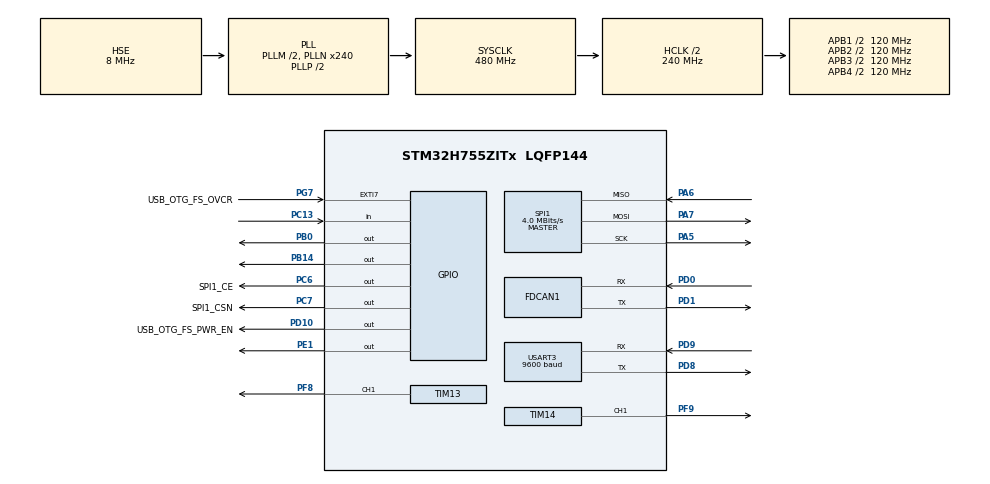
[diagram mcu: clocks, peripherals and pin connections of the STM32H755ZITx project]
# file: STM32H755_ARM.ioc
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CortexM4.IPs=FATFS_M4\:I,FREERTOS_M4\:I,IWDG2\:I,RCC,WWDG2\:I,DMA,BDMA,MDMA,NVIC2\:I,USART3,DEBUG,PDM2PCM_M4\:I,PWR,RESMGR_UTILITY,SYS_M4\:I,USB_DEVICE_M4\:I,USB_HOST_M4\:I,CORTEX_M4\:I,GPIO,OPENAMP_M4\:I,VREFBUF,NUCLEO-H755ZI-Q,FDCAN1,SPI1
CortexM7.IPs=FATFS_M7\:I,FREERTOS_M7\:I,IWDG1\:I,RCC\:I,WWDG1\:I,DMA\:I,BDMA\:I,MDMA\:I,NVIC1\:I,USART3\:I,USB_OTG_FS\:I,SYS\:I,CORTEX_M7\:I,DEBUG\:I,PDM2PCM_M7\:I,PWR\:I,RESMGR_UTILITY\:I,USB_DEVICE_M7\:I,USB_HOST_M7\:I,GPIO\:I,OPENAMP_M7\:I,VREFBUF\:I,NUCLEO-H755ZI-Q\:I,SPI1\:I,TIM13\:I,TIM14\:I,FDCAN1\:I
CortexM7.Pins=PC6,PC7
FDCAN1.CalculateBaudRateNominal=500000
FDCAN1.CalculateTimeBitNominal=2000
FDCAN1.CalculateTimeQuantumNominal=50.0
FDCAN1.NominalPrescaler=2
FDCAN1.NominalSyncJumpWidth=8
FDCAN1.NominalTimeSeg1=0x1F
FDCAN1.NominalTimeSeg2=8
FDCAN1.RxFifo0ElmtsNbr=1
FDCAN1.StdFiltersNbr=1
FDCAN1.TxFifoQueueElmtsNbr=1
Mcu.Family=STM32H7
Mcu.Name=STM32H755ZITx
Mcu.Package=LQFP144
NVIC1.PriorityGroup=NVIC_PRIORITYGROUP_4
NVIC2.PriorityGroup=NVIC_PRIORITYGROUP_4
PA1.PinAttribute=CortexM7
PA1.Signal=ETH_REF_CLK
PA11.PinAttribute=CortexM7
PA11.Signal=USB_OTG_FS_DM
PA12.PinAttribute=CortexM7
PA12.Signal=USB_OTG_FS_DP
PA2.PinAttribute=CortexM7
PA2.Signal=ETH_MDIO
PA5.Mode=Full_Duplex_Master
PA5.PinAttribute=CortexM7
PA5.Signal=SPI1_SCK
PA6.Mode=Full_Duplex_Master
PA6.PinAttribute=CortexM7
PA6.Signal=SPI1_MISO
PA7.Mode=Full_Duplex_Master
PA7.PinAttribute=CortexM7
PA7.Signal=SPI1_MOSI
PA8.PinAttribute=CortexM7
PA8.Signal=USB_OTG_FS_SOF
PA9.PinAttribute=CortexM7
PA9.Signal=USB_OTG_FS_VBUS
PB0.PinAttribute=Free
PB0.Signal=GPIO_Output
PB13.PinAttribute=CortexM7
PB13.Signal=ETH_TXD1
PB14.PinAttribute=Free
PB14.Signal=GPIO_Output
PC1.PinAttribute=CortexM7
PC1.Signal=ETH_MDC
PC13.PinAttribute=Free
PC13.Signal=GPIO_Input
PC14-OSC32_IN\ (OSC32_IN).Mode=LSE-External-Oscillator
PC14-OSC32_IN\ (OSC32_IN).PinAttribute=Free
PC14-OSC32_IN\ (OSC32_IN).Signal=RCC_OSC32_IN
PC15-OSC32_OUT\ (OSC32_OUT).Mode=LSE-External-Oscillator
PC15-OSC32_OUT\ (OSC32_OUT).PinAttribute=Free
PC15-OSC32_OUT\ (OSC32_OUT).Signal=RCC_OSC32_OUT
PC4.PinAttribute=CortexM7
PC4.Signal=ETH_RXD0
PC5.PinAttribute=CortexM7
PC5.Signal=ETH_RXD1
PC6.GPIO_Label=SPI1_CE
PC6.PinAttribute=CortexM7
PC6.Signal=GPIO_Output
PC7.GPIO_Label=SPI1_CSN
PC7.PinAttribute=CortexM7
PC7.Signal=GPIO_Output
PD0.GPIO_Speed=GPIO_SPEED_FREQ_VERY_HIGH
PD0.Mode=FDCAN_Activate
PD0.PinAttribute=CortexM7
PD0.Signal=FDCAN1_RX
PD1.GPIO_PuPd=GPIO_PULLUP
PD1.GPIO_Speed=GPIO_SPEED_FREQ_VERY_HIGH
PD1.Mode=FDCAN_Activate
PD1.PinAttribute=CortexM7
PD1.Signal=FDCAN1_TX
PD10.GPIO_Label=USB_OTG_FS_PWR_EN
PD10.PinAttribute=Free
PD10.Signal=GPIO_Output
PD8.Mode=Asynchronous
PD8.PinAttribute=CortexM7
PD8.Signal=USART3_TX
PD9.Mode=Asynchronous
PD9.PinAttribute=CortexM7
PD9.Signal=USART3_RX
PE1.PinAttribute=Free
PE1.Signal=GPIO_Output
PF8.PinAttribute=CortexM7
PF8.Signal=S_TIM13_CH1
PF9.PinAttribute=CortexM7
PF9.Signal=S_TIM14_CH1
PG11.PinAttribute=CortexM7
PG11.Signal=ETH_TX_EN
PG13.PinAttribute=CortexM7
PG13.Signal=ETH_TXD0
PG7.GPIO_Label=USB_OTG_FS_OVCR
PG7.PinAttribute=Free
PG7.Signal=GPXTI7
PH0-OSC_IN\ (PH0).Mode=HSE-External-Clock-Source
PH0-OSC_IN\ (PH0).PinAttribute=Free
PH0-OSC_IN\ (PH0).Signal=RCC_OSC_IN
PH1-OSC_OUT\ (PH1).PinAttribute=Free
PH1-OSC_OUT\ (PH1).Signal=RCC_OSC_OUT
ProjectManager.HeapSize=M4-0x200,M7-0x200
ProjectManager.StackSize=M4-0x400,M7-0x400
ProjectManager.TargetToolchain=STM32CubeIDE
RCC.ADCFreq_Value=16125000
RCC.APB1Freq_Value=120000000
RCC.APB2Freq_Value=120000000
RCC.APB3Freq_Value=120000000
RCC.APB4Freq_Value=120000000
RCC.CortexFreq_Value=480000000
RCC.D1PPRE=RCC_APB3_DIV2
RCC.D2PPRE1=RCC_APB1_DIV2
RCC.D2PPRE2=RCC_APB2_DIV2
RCC.D3PPRE=RCC_APB4_DIV2
RCC.DIVM1=2
RCC.DIVN1=240
RCC.DIVQ1=24
RCC.HCLKFreq_Value=240000000
RCC.HPRE=RCC_HCLK_DIV2
RCC.HSE_VALUE=8000000
RCC.PLL2FRACN=0
RCC.PLL3FRACN=0
RCC.PLLFRACN=0
RCC.PLLSourceVirtual=RCC_PLLSOURCE_HSE
RCC.SPI123CLockSelection=RCC_SPI123CLKSOURCE_CLKP
RCC.SYSCLKFreq_VALUE=480000000
RCC.SYSCLKSource=RCC_SYSCLKSOURCE_PLLCLK
RCC.SupplySource=PWR_DIRECT_SMPS_SUPPLY
RCC.USBFreq_Value=40000000
SH.S_TIM13_CH1.0=TIM13_CH1,PWM Generation1 CH1
SH.S_TIM14_CH1.0=TIM14_CH1,PWM Generation1 CH1
SPI1.BaudRatePrescaler=SPI_BAUDRATEPRESCALER_16
SPI1.CalculateBaudRate=4.0 MBits/s
SPI1.DataSize=SPI_DATASIZE_8BIT
SPI1.Direction=SPI_DIRECTION_2LINES
SPI1.Mode=SPI_MODE_MASTER
SPI1.VirtualType=VM_MASTER
TIM13.Channel=TIM_CHANNEL_1
TIM13.Period=19999
TIM13.Prescaler=239
TIM13.Pulse=1500
TIM14.Channel=TIM_CHANNEL_1
TIM14.Period=19999
TIM14.Prescaler=239
TIM14.Pulse=1500
USART3.BaudRate=9600
USART3.VirtualMode-Asynchronous=VM_ASYNC
VP_SYS_M4_VS_Systick.Mode=SysTick
VP_TIM13_VS_ClockSourceINT.Mode=Enable_Timer
VP_TIM14_VS_ClockSourceINT.Mode=Enable_Timer
board=NUCLEO-H755ZI-Q

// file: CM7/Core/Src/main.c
/* USER CODE BEGIN Header */
/**
  ******************************************************************************
  * @file           : main.c
  * @brief          : Main program body
  ******************************************************************************
  * @attention
  *
  * Copyright (c) 2024 STMicroelectronics.
  * All rights reserved.
  *
  * This software is licensed under terms that can be found in the LICENSE file
  * in the root directory of this software component.
  * If no LICENSE file comes with this software, it is provided AS-IS.
  *
  ******************************************************************************
  */
/* USER CODE END Header */
#include "main.h"

/* USER CODE BEGIN Includes */
#include "myprintf.h"
#include "MY_NRF24.h"
#include "string.h"

/* USER CODE END Includes */

/* USER CODE BEGIN PD */

#ifndef HSEM_ID_0
#define HSEM_ID_0 (0U) /* HW semaphore 0*/
#endif

/* USER CODE END PD */

FDCAN_HandleTypeDef hfdcan1;

SPI_HandleTypeDef hspi1;

TIM_HandleTypeDef htim13;
TIM_HandleTypeDef htim14;

UART_HandleTypeDef huart3;

/* USER CODE BEGIN PV */
const uint64_t pipe_address = 0x11223344AALL;
char myRxData[50];
uint8_t buffer[6];
char myAckPayload[32] = "Ack by STMF7!";

/* USER CODE END PV */

void SystemClock_Config(void);
void PeriphCommonClock_Config(void);
static void MX_GPIO_Init(void);
static void MX_SPI1_Init(void);
static void MX_USART3_UART_Init(void);
static void MX_TIM13_Init(void);
static void MX_TIM14_Init(void);
static void MX_FDCAN1_Init(void);
/* USER CODE BEGIN PFP */
void NRF_Init(void);
void checkNRF();
/* USER CODE END PFP */

/* USER CODE BEGIN 0 */
void NRF_Init(void) {
	NRF24_begin(GPIOC, GPIO_PIN_6, GPIO_PIN_7, hspi1); // Ajusta según tu configuración de pines
	nrf24_DebugUART_Init(huart3);
	NRF24_openReadingPipe(1, pipe_address); // Abre el pipe 1 con la dirección configurada
	NRF24_setAutoAck(false);
	NRF24_setChannel(52); // Canal de RF, asegúrate que coincida con el Arduino
	NRF24_setPayloadSize(32);
	NRF24_setDataRate(RF24_2MBPS); // Velocidad de datos, debe coincidir con el Arduino
	NRF24_enableDynamicPayloads();
	NRF24_enableAckPayload();
	NRF24_startListening(); // Comienza a escuchar
	printRadioSettings();
}

void checkNRF(void) {
	uint8_t x = 0;
	uint8_t y = 0;
	uint8_t a = 0;
	uint8_t buffer[6];
	if(NRF24_available())
	  {
		NRF24_read(buffer, 6);

		if((buffer[0] == 0xFF && buffer[1] == 0xFF)){
			printf("Coordinates not found\r\n");
		}
		else{
			x = (buffer[0]<<8|buffer[1]);
			y = (buffer[2]<<8|buffer[3]);
			a = (buffer[4]<<8|buffer[5]);
		//				snprintf(myRxData, 32, "%u %u %u \r\n", (buffer[0]<<8|buffer[1]), (buffer[2]<<8|buffer[3]), (buffer[4]<<8|buffer[5]));

			snprintf(myRxData, 32, "x = %u, y = %u, a = %u \r\n", x, y, a);
			HAL_UART_Transmit(&huart3, (uint8_t *)myRxData, strlen(myRxData), 10);
			//printf("x = %u, y = %u, a = %u \r\n", x,y,a);
			//printf("test \r\n");

		}
		NRF24_writeAckPayload(1, myAckPayload, 32);
	  } else {
		printf("NRF NOT AVAILABLE \r\n");
	  }
}
/* USER CODE END 0 */

int main(void)
{

/* USER CODE BEGIN Boot_Mode_Sequence_0 */
  int32_t timeout;
/* USER CODE END Boot_Mode_Sequence_0 */

/* USER CODE BEGIN Boot_Mode_Sequence_1 */
  /* Wait until CPU2 boots and enters in stop mode or timeout*/
  timeout = 0xFFFF;
  while((__HAL_RCC_GET_FLAG(RCC_FLAG_D2CKRDY) != RESET) && (timeout-- > 0));
  if ( timeout < 0 )
  {
  Error_Handler();
  }
/* USER CODE END Boot_Mode_Sequence_1 */
  /* MCU Configuration--------------------------------------------------------*/

  /* Reset of all peripherals, Initializes the Flash interface and the Systick. */
  HAL_Init();

  /* Configure the system clock */
  SystemClock_Config();

  /* Configure the peripherals common clocks */
  PeriphCommonClock_Config();
/* USER CODE BEGIN Boot_Mode_Sequence_2 */
/* When system initialization is finished, Cortex-M7 will release Cortex-M4 by means of
HSEM notification */
/*HW semaphore Clock enable*/
__HAL_RCC_HSEM_CLK_ENABLE();
/*Take HSEM */
HAL_HSEM_FastTake(HSEM_ID_0);
/*Release HSEM in order to notify the CPU2(CM4)*/
HAL_HSEM_Release(HSEM_ID_0,0);
/* wait until CPU2 wakes up from stop mode */
timeout = 0xFFFF;
while((__HAL_RCC_GET_FLAG(RCC_FLAG_D2CKRDY) == RESET) && (timeout-- > 0));
if ( timeout < 0 )
{
Error_Handler();
}
/* USER CODE END Boot_Mode_Sequence_2 */

  /* USER CODE BEGIN SysInit */
	uint64_t pipe_address = 0x11223344AALL;
	char myRxData[50];
	uint8_t buffer[6];
	char myAckPayload[32] = "Ack by STMF7!";
  /* USER CODE END SysInit */

  /* Initialize all configured peripherals */
  MX_GPIO_Init();
  MX_SPI1_Init();
  MX_USART3_UART_Init();
  MX_TIM13_Init();
  MX_TIM14_Init();
  MX_FDCAN1_Init();
  /* USER CODE BEGIN 2 */
  NRF_Init();
  if (HAL_TIM_PWM_Start(&htim14, TIM_CHANNEL_1) != HAL_OK)
	{
	  printf("TIM14_PWM Failed to Start\r\n");
//#error "TIM14_PWM FAILED TO START"
	  Error_Handler();
	}
  if (HAL_TIM_PWM_Start(&htim13, TIM_CHANNEL_1) != HAL_OK)
  {
	  printf("TIM13_PWM Failed to Start\r\n");
	  Error_Handler();
  }
  printf("Timer's PWM channels OK \r\n");
  /* USER CODE END 2 */

  /* Infinite loop */
  /* USER CODE BEGIN WHILE */
  while (1)
  {
	  checkNRF();
	  HAL_Delay(100);
    /* USER CODE END WHILE */

  }
}

void SystemClock_Config(void)
{
  RCC_OscInitTypeDef RCC_OscInitStruct = {0};
  RCC_ClkInitTypeDef RCC_ClkInitStruct = {0};

  /** Supply configuration update enable
  */
  HAL_PWREx_ConfigSupply(PWR_DIRECT_SMPS_SUPPLY);

  /** Configure the main internal regulator output voltage
  */
  __HAL_PWR_VOLTAGESCALING_CONFIG(PWR_REGULATOR_VOLTAGE_SCALE0);

  while(!__HAL_PWR_GET_FLAG(PWR_FLAG_VOSRDY)) {}

  /** Initializes the RCC Oscillators according to the specified parameters
  * in the RCC_OscInitTypeDef structure.
  */
  RCC_OscInitStruct.OscillatorType = RCC_OSCILLATORTYPE_HSI|RCC_OSCILLATORTYPE_HSE;
  RCC_OscInitStruct.HSEState = RCC_HSE_BYPASS;
  RCC_OscInitStruct.HSIState = RCC_HSI_DIV1;
  RCC_OscInitStruct.HSICalibrationValue = RCC_HSICALIBRATION_DEFAULT;
  RCC_OscInitStruct.PLL.PLLState = RCC_PLL_ON;
  RCC_OscInitStruct.PLL.PLLSource = RCC_PLLSOURCE_HSE;
  RCC_OscInitStruct.PLL.PLLM = 2;
  RCC_OscInitStruct.PLL.PLLN = 240;
  RCC_OscInitStruct.PLL.PLLP = 2;
  RCC_OscInitStruct.PLL.PLLQ = 24;
  RCC_OscInitStruct.PLL.PLLR = 2;
  RCC_OscInitStruct.PLL.PLLRGE = RCC_PLL1VCIRANGE_2;
  RCC_OscInitStruct.PLL.PLLVCOSEL = RCC_PLL1VCOWIDE;
  RCC_OscInitStruct.PLL.PLLFRACN = 0;
  if (HAL_RCC_OscConfig(&RCC_OscInitStruct) != HAL_OK)
  {
    Error_Handler();
  }

  /** Initializes the CPU, AHB and APB buses clocks
  */
  RCC_ClkInitStruct.ClockType = RCC_CLOCKTYPE_HCLK|RCC_CLOCKTYPE_SYSCLK
                              |RCC_CLOCKTYPE_PCLK1|RCC_CLOCKTYPE_PCLK2
                              |RCC_CLOCKTYPE_D3PCLK1|RCC_CLOCKTYPE_D1PCLK1;
  RCC_ClkInitStruct.SYSCLKSource = RCC_SYSCLKSOURCE_PLLCLK;
  RCC_ClkInitStruct.SYSCLKDivider = RCC_SYSCLK_DIV1;
  RCC_ClkInitStruct.AHBCLKDivider = RCC_HCLK_DIV2;
  RCC_ClkInitStruct.APB3CLKDivider = RCC_APB3_DIV2;
  RCC_ClkInitStruct.APB1CLKDivider = RCC_APB1_DIV2;
  RCC_ClkInitStruct.APB2CLKDivider = RCC_APB2_DIV2;
  RCC_ClkInitStruct.APB4CLKDivider = RCC_APB4_DIV2;

  if (HAL_RCC_ClockConfig(&RCC_ClkInitStruct, FLASH_LATENCY_4) != HAL_OK)
  {
    Error_Handler();
  }
}

void PeriphCommonClock_Config(void)
{
  RCC_PeriphCLKInitTypeDef PeriphClkInitStruct = {0};

  /** Initializes the peripherals clock
  */
  PeriphClkInitStruct.PeriphClockSelection = RCC_PERIPHCLK_CKPER;
  PeriphClkInitStruct.CkperClockSelection = RCC_CLKPSOURCE_HSI;
  if (HAL_RCCEx_PeriphCLKConfig(&PeriphClkInitStruct) != HAL_OK)
  {
    Error_Handler();
  }
}

static void MX_FDCAN1_Init(void)
{

  hfdcan1.Instance = FDCAN1;
  hfdcan1.Init.FrameFormat = FDCAN_FRAME_CLASSIC;
  hfdcan1.Init.Mode = FDCAN_MODE_NORMAL;
  hfdcan1.Init.AutoRetransmission = DISABLE;
  hfdcan1.Init.TransmitPause = DISABLE;
  hfdcan1.Init.ProtocolException = DISABLE;
  hfdcan1.Init.NominalPrescaler = 2;
  hfdcan1.Init.NominalSyncJumpWidth = 8;
  hfdcan1.Init.NominalTimeSeg1 = 0x1F;
  hfdcan1.Init.NominalTimeSeg2 = 8;
  hfdcan1.Init.DataPrescaler = 1;
  hfdcan1.Init.DataSyncJumpWidth = 1;
  hfdcan1.Init.DataTimeSeg1 = 1;
  hfdcan1.Init.DataTimeSeg2 = 1;
  hfdcan1.Init.MessageRAMOffset = 0;
  hfdcan1.Init.StdFiltersNbr = 1;
  hfdcan1.Init.ExtFiltersNbr = 0;
  hfdcan1.Init.RxFifo0ElmtsNbr = 1;
  hfdcan1.Init.RxFifo0ElmtSize = FDCAN_DATA_BYTES_8;
  hfdcan1.Init.RxFifo1ElmtsNbr = 0;
  hfdcan1.Init.RxFifo1ElmtSize = FDCAN_DATA_BYTES_8;
  hfdcan1.Init.RxBuffersNbr = 0;
  hfdcan1.Init.RxBufferSize = FDCAN_DATA_BYTES_8;
  hfdcan1.Init.TxEventsNbr = 0;
  hfdcan1.Init.TxBuffersNbr = 0;
  hfdcan1.Init.TxFifoQueueElmtsNbr = 1;
  hfdcan1.Init.TxFifoQueueMode = FDCAN_TX_FIFO_OPERATION;
  hfdcan1.Init.TxElmtSize = FDCAN_DATA_BYTES_8;
  if (HAL_FDCAN_Init(&hfdcan1) != HAL_OK)
  {
    Error_Handler();
  }

}

static void MX_SPI1_Init(void)
{

  /* SPI1 parameter configuration*/
  hspi1.Instance = SPI1;
  hspi1.Init.Mode = SPI_MODE_MASTER;
  hspi1.Init.Direction = SPI_DIRECTION_2LINES;
  hspi1.Init.DataSize = SPI_DATASIZE_8BIT;
  hspi1.Init.CLKPolarity = SPI_POLARITY_LOW;
  hspi1.Init.CLKPhase = SPI_PHASE_1EDGE;
  hspi1.Init.NSS = SPI_NSS_SOFT;
  hspi1.Init.BaudRatePrescaler = SPI_BAUDRATEPRESCALER_16;
  hspi1.Init.FirstBit = SPI_FIRSTBIT_MSB;
  hspi1.Init.TIMode = SPI_TIMODE_DISABLE;
  hspi1.Init.CRCCalculation = SPI_CRCCALCULATION_DISABLE;
  hspi1.Init.CRCPolynomial = 0x0;
  hspi1.Init.NSSPMode = SPI_NSS_PULSE_ENABLE;
  hspi1.Init.NSSPolarity = SPI_NSS_POLARITY_LOW;
  hspi1.Init.FifoThreshold = SPI_FIFO_THRESHOLD_01DATA;
  hspi1.Init.TxCRCInitializationPattern = SPI_CRC_INITIALIZATION_ALL_ZERO_PATTERN;
  hspi1.Init.RxCRCInitializationPattern = SPI_CRC_INITIALIZATION_ALL_ZERO_PATTERN;
  hspi1.Init.MasterSSIdleness = SPI_MASTER_SS_IDLENESS_00CYCLE;
  hspi1.Init.MasterInterDataIdleness = SPI_MASTER_INTERDATA_IDLENESS_00CYCLE;
  hspi1.Init.MasterReceiverAutoSusp = SPI_MASTER_RX_AUTOSUSP_DISABLE;
  hspi1.Init.MasterKeepIOState = SPI_MASTER_KEEP_IO_STATE_DISABLE;
  hspi1.Init.IOSwap = SPI_IO_SWAP_DISABLE;
  if (HAL_SPI_Init(&hspi1) != HAL_OK)
  {
    Error_Handler();
  }

}

static void MX_TIM13_Init(void)
{

  TIM_OC_InitTypeDef sConfigOC = {0};

  htim13.Instance = TIM13;
  htim13.Init.Prescaler = 239;
  htim13.Init.CounterMode = TIM_COUNTERMODE_UP;
  htim13.Init.Period = 19999;
  htim13.Init.ClockDivision = TIM_CLOCKDIVISION_DIV1;
  htim13.Init.AutoReloadPreload = TIM_AUTORELOAD_PRELOAD_DISABLE;
  if (HAL_TIM_Base_Init(&htim13) != HAL_OK)
  {
    Error_Handler();
  }
  if (HAL_TIM_PWM_Init(&htim13) != HAL_OK)
  {
    Error_Handler();
  }
  sConfigOC.OCMode = TIM_OCMODE_PWM1;
  sConfigOC.Pulse = 1500;
  sConfigOC.OCPolarity = TIM_OCPOLARITY_HIGH;
  sConfigOC.OCFastMode = TIM_OCFAST_DISABLE;
  if (HAL_TIM_PWM_ConfigChannel(&htim13, &sConfigOC, TIM_CHANNEL_1) != HAL_OK)
  {
    Error_Handler();
  }
  HAL_TIM_MspPostInit(&htim13);

}

static void MX_TIM14_Init(void)
{

  TIM_OC_InitTypeDef sConfigOC = {0};

  htim14.Instance = TIM14;
  htim14.Init.Prescaler = 239;
  htim14.Init.CounterMode = TIM_COUNTERMODE_UP;
  htim14.Init.Period = 19999;
  htim14.Init.ClockDivision = TIM_CLOCKDIVISION_DIV1;
  htim14.Init.AutoReloadPreload = TIM_AUTORELOAD_PRELOAD_DISABLE;
  if (HAL_TIM_Base_Init(&htim14) != HAL_OK)
  {
    Error_Handler();
  }
  if (HAL_TIM_PWM_Init(&htim14) != HAL_OK)
  {
    Error_Handler();
  }
  sConfigOC.OCMode = TIM_OCMODE_PWM1;
  sConfigOC.Pulse = 1500;
  sConfigOC.OCPolarity = TIM_OCPOLARITY_HIGH;
  sConfigOC.OCFastMode = TIM_OCFAST_DISABLE;
  if (HAL_TIM_PWM_ConfigChannel(&htim14, &sConfigOC, TIM_CHANNEL_1) != HAL_OK)
  {
    Error_Handler();
  }
  HAL_TIM_MspPostInit(&htim14);

}

static void MX_USART3_UART_Init(void)
{

  huart3.Instance = USART3;
  huart3.Init.BaudRate = 9600;
  huart3.Init.WordLength = UART_WORDLENGTH_8B;
  huart3.Init.StopBits = UART_STOPBITS_1;
  huart3.Init.Parity = UART_PARITY_NONE;
  huart3.Init.Mode = UART_MODE_TX_RX;
  huart3.Init.HwFlowCtl = UART_HWCONTROL_NONE;
  huart3.Init.OverSampling = UART_OVERSAMPLING_16;
  huart3.Init.OneBitSampling = UART_ONE_BIT_SAMPLE_DISABLE;
  huart3.Init.ClockPrescaler = UART_PRESCALER_DIV1;
  huart3.AdvancedInit.AdvFeatureInit = UART_ADVFEATURE_NO_INIT;
  if (HAL_UART_Init(&huart3) != HAL_OK)
  {
    Error_Handler();
  }
  if (HAL_UARTEx_SetTxFifoThreshold(&huart3, UART_TXFIFO_THRESHOLD_1_8) != HAL_OK)
  {
    Error_Handler();
  }
  if (HAL_UARTEx_SetRxFifoThreshold(&huart3, UART_RXFIFO_THRESHOLD_1_8) != HAL_OK)
  {
    Error_Handler();
  }
  if (HAL_UARTEx_DisableFifoMode(&huart3) != HAL_OK)
  {
    Error_Handler();
  }

}

static void MX_GPIO_Init(void)
{
  GPIO_InitTypeDef GPIO_InitStruct = {0};

  /* GPIO Ports Clock Enable */
  __HAL_RCC_GPIOF_CLK_ENABLE();
  __HAL_RCC_GPIOC_CLK_ENABLE();
  __HAL_RCC_GPIOA_CLK_ENABLE();
  __HAL_RCC_GPIOB_CLK_ENABLE();
  __HAL_RCC_GPIOD_CLK_ENABLE();
  __HAL_RCC_GPIOG_CLK_ENABLE();

  /*Configure GPIO pin Output Level */
  HAL_GPIO_WritePin(GPIOC, SPI1_CE_Pin|SPI1_CSN_Pin, GPIO_PIN_RESET);

  /*Configure GPIO pins : PC1 PC4 PC5 */
  GPIO_InitStruct.Pin = GPIO_PIN_1|GPIO_PIN_4|GPIO_PIN_5;
  GPIO_InitStruct.Mode = GPIO_MODE_AF_PP;
  GPIO_InitStruct.Pull = GPIO_NOPULL;
  GPIO_InitStruct.Speed = GPIO_SPEED_FREQ_LOW;
  GPIO_InitStruct.Alternate = GPIO_AF11_ETH;
  HAL_GPIO_Init(GPIOC, &GPIO_InitStruct);

  /*Configure GPIO pins : PA1 PA2 */
  GPIO_InitStruct.Pin = GPIO_PIN_1|GPIO_PIN_2;
  GPIO_InitStruct.Mode = GPIO_MODE_AF_PP;
  GPIO_InitStruct.Pull = GPIO_NOPULL;
  GPIO_InitStruct.Speed = GPIO_SPEED_FREQ_LOW;
  GPIO_InitStruct.Alternate = GPIO_AF11_ETH;
  HAL_GPIO_Init(GPIOA, &GPIO_InitStruct);

  /*Configure GPIO pin : PB13 */
  GPIO_InitStruct.Pin = GPIO_PIN_13;
  GPIO_InitStruct.Mode = GPIO_MODE_AF_PP;
  GPIO_InitStruct.Pull = GPIO_NOPULL;
  GPIO_InitStruct.Speed = GPIO_SPEED_FREQ_LOW;
  GPIO_InitStruct.Alternate = GPIO_AF11_ETH;
  HAL_GPIO_Init(GPIOB, &GPIO_InitStruct);

  /*Configure GPIO pins : SPI1_CE_Pin SPI1_CSN_Pin */
  GPIO_InitStruct.Pin = SPI1_CE_Pin|SPI1_CSN_Pin;
  GPIO_InitStruct.Mode = GPIO_MODE_OUTPUT_PP;
  GPIO_InitStruct.Pull = GPIO_NOPULL;
  GPIO_InitStruct.Speed = GPIO_SPEED_FREQ_LOW;
  HAL_GPIO_Init(GPIOC, &GPIO_InitStruct);

  /*Configure GPIO pins : PA8 PA11 PA12 */
  GPIO_InitStruct.Pin = GPIO_PIN_8|GPIO_PIN_11|GPIO_PIN_12;
  GPIO_InitStruct.Mode = GPIO_MODE_AF_PP;
  GPIO_InitStruct.Pull = GPIO_NOPULL;
  GPIO_InitStruct.Speed = GPIO_SPEED_FREQ_LOW;
  GPIO_InitStruct.Alternate = GPIO_AF10_OTG1_FS;
  HAL_GPIO_Init(GPIOA, &GPIO_InitStruct);

  /*Configure GPIO pins : PG11 PG13 */
  GPIO_InitStruct.Pin = GPIO_PIN_11|GPIO_PIN_13;
  GPIO_InitStruct.Mode = GPIO_MODE_AF_PP;
  GPIO_InitStruct.Pull = GPIO_NOPULL;
  GPIO_InitStruct.Speed = GPIO_SPEED_FREQ_LOW;
  GPIO_InitStruct.Alternate = GPIO_AF11_ETH;
  HAL_GPIO_Init(GPIOG, &GPIO_InitStruct);

}

void Error_Handler(void)
{
  __disable_irq();
  while (1)
  {
  }
}
